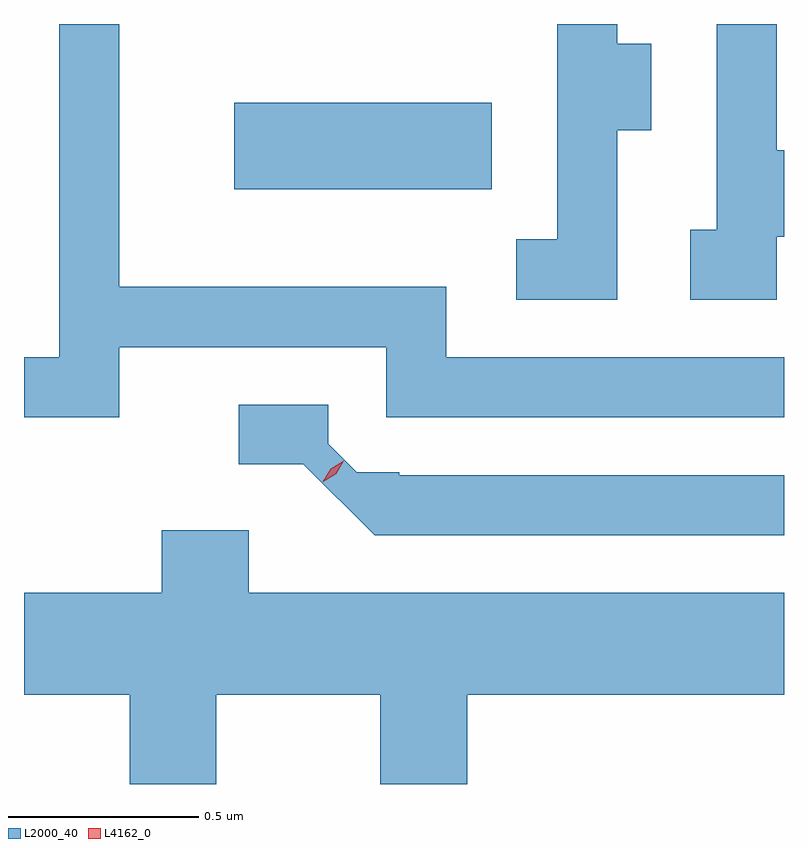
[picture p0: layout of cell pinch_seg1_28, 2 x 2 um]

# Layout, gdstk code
import gdstk
lib = gdstk.Library(unit=1e-6, precision=1e-09)
def R(c, l, rs):  # rectangles x0, y0, x1, y1
    for r in rs: c.add(gdstk.rectangle(r[:2], r[2:], *l))
def P(c, l, *ps):  # polygons
    for p in ps: c.add(gdstk.Polygon(p, *l))
L2000_40 = (2000, 40)
L4162_0 = (4162, 0)

pinch_seg1_28 = lib.new_cell('pinch_seg1_28')
R(pinch_seg1_28, L2000_40, [(1811.961,876.486,1812.639,876.714)])
P(pinch_seg1_28, L2000_40, [(1813.389,876.361),(1813.408,876.361),(1813.408,876.589),(1813.389,876.589),(1813.389,876.921),(1813.231,876.921),(1813.231,876.379),(1813.161,876.379),(1813.161,876.196),(1813.389,876.196)],
  [(1811.659,876.071),(1812.361,876.071),(1812.361,875.886),(1813.408,875.886),(1813.408,876.044),(1812.519,876.044),(1812.519,876.229),(1811.659,876.229),(1811.659,876.921),(1811.501,876.921),(1811.501,876.044),(1811.408,876.044),(1811.408,875.886),(1811.659,875.886)],
  [(1812.969,876.641),(1813.059,876.641),(1813.059,876.869),(1812.969,876.869),(1812.969,876.921),(1812.811,876.921),(1812.811,876.354),(1812.703,876.354),(1812.703,876.196),(1812.969,876.196)],
  [(1813.408,875.734),(1812.395,875.734),(1812.395,875.741),(1812.284,875.741),(1812.208,875.817),(1812.208,875.919),(1811.973,875.919),(1811.973,875.762),(1812.143,875.762),(1812.235,875.67),(1812.236,875.671),(1812.331,875.576),(1813.408,875.576)],
  [(1811.914,875.156),(1812.346,875.156),(1812.346,874.921),(1812.574,874.921),(1812.574,875.156),(1813.408,875.156),(1813.408,875.424),(1811.999,875.424),(1811.999,875.589),(1811.771,875.589),(1811.771,875.424),(1811.408,875.424),(1811.408,875.156),(1811.686,875.156),(1811.686,874.921),(1811.914,874.921)])
P(pinch_seg1_28, L4162_0, [(1812.194,875.716),(1812.194,875.717),(1812.215,875.751),(1812.25,875.772),(1812.25,875.772),(1812.25,875.772),(1812.23,875.737),(1812.195,875.716)],
  [(1812.201,875.72),(1812.201,875.721),(1812.216,875.751),(1812.245,875.767),(1812.246,875.767),(1812.246,875.766),(1812.23,875.737),(1812.202,875.72)])

lib.write_gds('pinch_seg1_28.gds')
